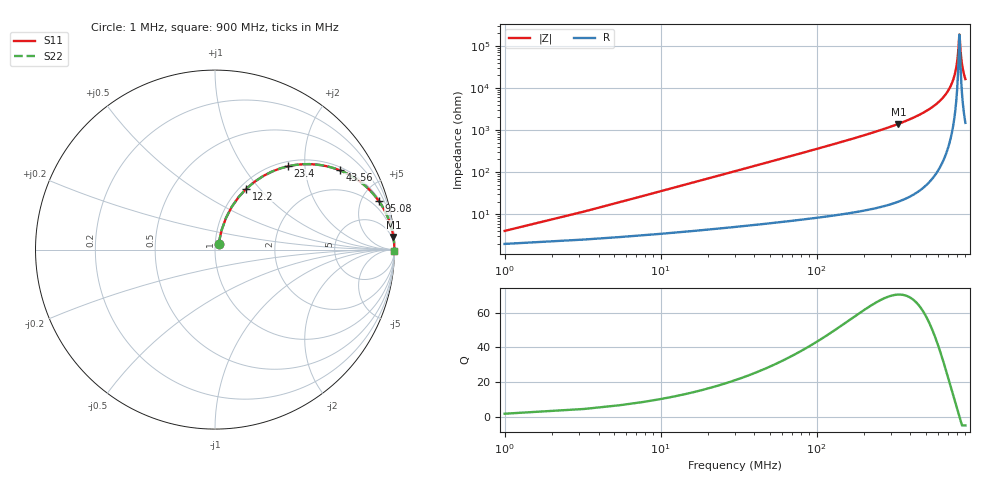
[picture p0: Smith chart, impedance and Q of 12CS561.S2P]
! Coilcraft 1206CS-561 Chip Inductor
! 29 July 2002
# MHZ S MA R 50
!Freq  MagS11  AngS11  MagS21  AngS21  MagS12  AngS12  MagS22  AngS22
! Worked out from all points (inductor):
!   403 points, 1 MHz to 900 MHz, reference 50 ohm
!   read as one part in series: L = 557 nH near 5.48 MHz
!   highest Q = 70.5 at 334.8 MHz (marker M1), where L = 667 nH
!   self-resonance near 823.1 MHz
!   S11 on the Smith chart (normalised r, x): 1 MHz: 1.04, +0.07; 12.2 MHz: 1.07, +0.85; 23.4 MHz: 1.09, +1.64; 43.56 MHz: 1.12, +3.06; 95.08 MHz: 1.16, +6.74; 900 MHz: open
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1  0.03937 58.6  0.9801 -2.0  0.9801 -2.0  0.03937 58.6
7.72  0.2551 68.6  0.9377 -14.7  0.9377 -14.7  0.2551 68.6
12.2  0.3824 62.7  0.8921 -22.4  0.8921 -22.4  0.3824 62.7
23.4  0.6179 48.7  0.7527 -38.1  0.7527 -38.1  0.6179 48.7
43.56  0.823 32.5  0.538 -55.3  0.538 -55.3  0.823 32.5
63.72  0.9034 23.7  0.4025 -64.6  0.4025 -64.6  0.9034 23.7
95.08  0.9526 16.4  0.2824 -72.2  0.2824 -72.2  0.9526 16.4
151.08  0.9805 10.3  0.1792 -78.6  0.1792 -78.6  0.9805 10.3
301.16  0.9955 4.7  0.08182 -84.5  0.08182 -84.5  0.9955 4.7
334.76  0.9965 4.1  0.07101 -85.1  0.07101 -85.1  0.9965 4.1
451.24  0.9983 2.5  0.04425 -86.6  0.04425 -86.6  0.9983 2.5
601.32  0.9992 1.3  0.02219 -87.3  0.02219 -87.3  0.9992 1.3
690.92  0.9994 0.7  0.01227 -86.9  0.01227 -86.9  0.9994 0.7
751.4  0.9995 0.4  0.006413 -85.0  0.006413 -85.0  0.9995 0.4
793.96  0.9995 0.1  0.002617 -78.3  0.002617 -78.3  0.9995 0.1
805.16  0.9995 0.1  0.001678 -71.6  0.001678 -71.6  0.9995 0.1
823.08  0.9995 0.0  0.000536 -7.2  0.000536 -7.2  0.9995 0.0
827.56  0.9995 -0.0  0.0006164 30.1  0.0006164 30.1  0.9995 -0.0
841  0.9995 -0.1  0.001524 69.3  0.001524 69.3  0.9995 -0.1
854.44  0.9995 -0.1  0.002583 77.7  0.002583 77.7  0.9995 -0.1
874.6  0.9994 -0.2  0.00418 82.2  0.00418 82.2  0.9994 -0.2
900  0.9994 -0.4  0.006159 84.4  0.006159 84.4  0.9994 -0.4
